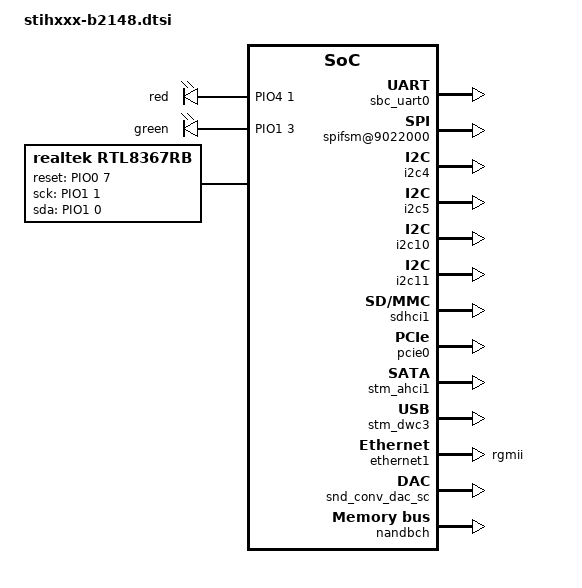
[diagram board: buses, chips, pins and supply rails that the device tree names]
/*
 * Copyright (C) 2014 STMicroelectronics Limited.
 * Author: Giuseppe Condorelli <giuseppe.condorelli@st.com>
 *
 * This program is free software; you can redistribute it and/or modify
 * it under the terms of the GNU General Public License version 2 as
 * publishhed by the Free Software Foundation.
 */

/ {
	chosen {
		bootargs = "";
		linux,stdout-path = &sbc_uart0;
	};

	aliases {

		ttyAS0 = &sbc_uart0;
		i2c0 = &i2c11; /* HDMI */
		i2c1 = &i2c5; /* stv6440 / M24256-B eeprom  */
		mmc1 = &sdhci1;
		sata0 = &stm_ahci0;
		sata1 = &stm_ahci1;
	};

	soc {
		lmi-retention-gpio   = <&PIO5 2 0>;

		/* UART10 (aka SBC_UART_0) */
		sbc_uart0: uart@9530000 {
			status = "okay";
		};

		spifsm@9022000 {
			status          = "okay";
			flash-name      = "n25q256";
			partitions      = <&b2148_fsm_partitions>;
			b2148_fsm_partitions: partitions-b2148 {
				#address-cells = <1>;
				#size-cells = <1>;
				partition@0 {
					label = "Serial Flash 1";
					/* 5M */
					reg = <0x00000000 0x00500000>;
				};
				partition@500000 {
					label = "Serial Flash 2";
					/* 27M */
					reg = <0x00500000 0x1B00000>;
				};
			};
		};

		leds {
			compatible	= "gpio-leds";
			red {
				gpios	= <&PIO4 1 0>;
				linux,default-trigger	= "heartbeat";
			};
			green {
				gpios	= <&PIO1 3 0>;
				default-state = "off";
			};
		};

		lirc@09518000 {
			status = "okay";
		};

		/* SSC4 to PCIe connector */
		i2c4: i2c@9844000 {
			status = "okay";
		};

		/* SSC5 to STV6440,  PCIe connector, I2C Eeprom */
		i2c5: i2c@9845000 {
			status = "okay";
		};

		/* SSC10 to STV0368 */
		i2c10: i2c@9540000 {
			status = "okay";
		};

		/* SSC11 to HDMI */
		i2c11: i2c@9541000 {
			status = "okay";
		};

		/* MMC1 is MMC4.3 / SD2.0 HC */
		sdhci1:sdhci@09080000 {
			status = "okay";
			device-config = <&sdhci1_sd_dev_config>; // SD pad
			st,mmc-core-init = <3>; // ARASAN_SD2 core config
		};

		/*
		 * By default the board is set up to be PCI express on miphy0.
		 * The Mini PCIE connectors on miphy0 can also be used as SATA
		 * ports with the B2136 adaptor board. To change it to SATA,
		 * change the miphy mode to "sata" instead of "pcie" and change
		 * the device-seq to the SATA sequence instead of the pcie
		 * sequence. Enable the AHCI SATA controller, and disable the
		 * PCIe controller as well.
		 *
		 */
		miphy0: miphy@9b22000 {
			status = "okay";
			miphy-modes = "pcie";
			/* miphy-modes = "sata"; */
			miphy0-dev-config {
				/* Use this sequence for PCIe using the internal clock slice */
				device-seqs = <&miphy0_pcie_internal_clock_seq>;
				/* device-seqs = <&miphy0_sata_seq>; */
			};
		};

		/* PCI express controller, mini PCIe connector J4 */
		pcie0: pcie@9b00000 {
			status = "okay";
		};

		/* SATA AHCI controller using B2136 adaptor board */
		stm_ahci0: ahci@9b20000 {
			status = "disabled";
		};

		/* PCIe was removed for the miphy1 and an eSATA was connected,
		 * so enable sata as the default.
		 */
		miphy1: miphy@9b2a000 {
			status = "okay";
			miphy-modes = "sata";
			miphy1-dev-config {
				device-seqs = <&miphy1_sata_seq>;
			};
		};

		stm_ahci1: ahci@9b28000 {
			status = "okay";
		};

		/* Miphy has to be probed before USB3 controller */
		miphy2: miphy@08f90000 {
			status = "okay";
			miphy-modes     = "usb3";
		};

		/*
		   DRD USB3 controller static configuration (mode pin 11)
			o Host - sw3 off (to GND)
			o Device - sw3 on (to 3V3)
		 */
		stm_dwc3: dwc3@8f94000 {
			status = "okay";
			usb3-dev-config {
				/* DRD USB3 as host (default) */
				device-seqs = <&usb3_host_dev_seqs>;
				/* DRD USB3 as device */
				/* device-seqs = <&usb3_device_dev_seqs>; */
			};
		};

		/* SYNP GMAC is configure to be attached to the RTL on board
		   switch; so fixed_phy support is used for communicating
		   with it.
		 */
		ethernet1:ethernet@9630000 {
			status = "okay";
			phy-mode	= "rgmii";
			snps,phy-bus-name = "fixed";
			snps,phy-bus-id = <0>;
			device-config = <&rgmii1_dev_config>;
			snps,phy-addr = <0x1>;
			snps,reset-delays-us = <0 10000 10000>;
		};


		realtek: rtl8367rb {
			compatible	= "realtek,rtl8367rb";
			status		= "okay";

			gpio-reset	= <&PIO0 7 0>;
			gpio-sck	= <&PIO1 1 0>;
			gpio-sda	= <&PIO1 0 0>;

			rtl8367rb,extif1;
			rtl8367rb,extif1-mode = <1>;	// RGMII
			rtl8367rb,extif1-txdelay = <0>;
			rtl8367rb,extif1-rxdelay = <1>;
			rtl8367rb,extif1-force_mode = <1>;
			rtl8367rb,extif1-txpause = <2>;
			rtl8367rb,extif1-rxpause = <2>;
			rtl8367rb,extif1-link = <1>;
			rtl8367rb,extif1-duplex = <1>;
			rtl8367rb,extif1-speed = <2>; // Giga speed

			rtl8367rb,extif2;
			rtl8367rb,extif2-mode = <1>;	// RGMII
			rtl8367rb,extif2-txdelay = <1>;
			rtl8367rb,extif2-rxdelay = <1>;
			rtl8367rb,extif2-force_mode = <1>;
			rtl8367rb,extif2-txpause = <1>;
			rtl8367rb,extif2-rxpause = <1>;
			rtl8367rb,extif2-link = <1>;
			rtl8367rb,extif2-duplex = <1>;
			rtl8367rb,extif2-speed = <2>; // Giga speed
		};

		snd_uni_player0: snd-uni-player@0x08d80000 {
			compatible	= "st,snd_uni_player";
			status		= "okay";
		};

		snd_uni_player1: snd-uni-player@0x08d81000 {
			compatible	= "st,snd_uni_player";
			status		= "disabled";
			padcfg-names	= "default";
			padcfg-0	= <&padcfg_i2s_8ch_out>;
		};

		snd_uni_player2: snd-uni-player@0x08d82000 {
			compatible	= "st,snd_uni_player";
			status		= "okay";
		};

		snd_uni_player3: snd-uni-player@0x08d85000 {
			compatible	= "st,snd_uni_player";
			status		= "okay";
			padcfg-names	= "default";
			padcfg-0	= <&padcfg_spdif_out>;
		};

		snd_uni_reader0: snd-uni-reader@0x08d83000 {
			compatible	= "st,snd_uni_reader";
			status		= "disabled";
			padcfg-names	= "default";
			padcfg-0	= <&padcfg_i2s_8ch_in>;
		};

		snd_uni_reader1: snd-uni-reader@0x08d84000 {
			compatible	= "st,snd_uni_reader";
			status		= "okay";
		};

		snd_conv_dac_sc: snd-conv-dac-sc {
			compatible	= "st,snd_conv_dac_sc";
			status		= "okay";
		};

		snd_conv_biphase: snd-conv-biphase {
			compatible	= "st,snd_conv_biphase";
			status		= "okay";
		};

		snd_audio_glue: snd-audio-glue {
			compatible	= "st,snd_audio_glue";
			status		= "okay";
		};

		nandbch: nand-bch {
			status = "okay";
			st,rbn-flex-connected;
			st,nand-banks = <&nand_banks>;
		};

		nand_banks: nand-banks {
			bank0 {
				/* NAND_BBT_USE_FLASH (4Gbit) */
				nand-on-flash-bbt;
				nand-no-autoincr;
				st,nand-csn = <0>;
				st,nand-timing-data = <&nand_timing0>;
				partitions {
					#address-cells = <1>;
					#size-cells = <1>;
					partition@0 {
						label = "NAND Flash 1";
						reg = <0x00000000 0x1e000000>;
					};
				};
			};
		};

		nand_timing0: nand-timing {
			sig-setup = <10>;
			sig-hold = <10>;
			CE-deassert = <0>;
			WE-to-RBn = <100>;
			wr-on = <10>;
			wr-off = <30>;
			rd-on = <10>;
			rd-off = <30>;
			chip-delay = <30>; /* delay in us */
		};

	};
};
